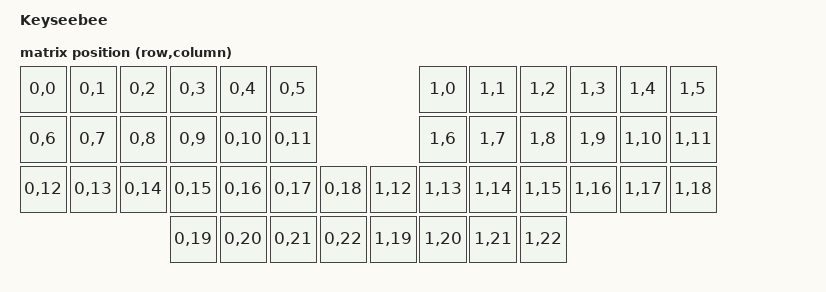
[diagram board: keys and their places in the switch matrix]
/*
 * Copyright (c) 2020 The ZMK Contributors
 *
 * SPDX-License-Identifier: MIT
 */

/dts-v1/;
#include <st/f0/stm32f072Xb.dtsi>
#include <st/f0/stm32f072c(8-b)tx-pinctrl.dtsi>
//#include <dt-bindings/led/led.h>

#include <dt-bindings/zmk/matrix_transform.h>

#include <physical_layouts.dtsi>

/ {
    model = "Keyseebee";
    compatible = "sefodopo,keyseebee", "st,stm32f072";

    chosen {
        zephyr,sram = &sram0;
        zephyr,flash = &flash0;
        zmk,kscan = &kscan;
        zmk,split-uart = &usart1;
    };

    matrix_transform: matrix_transform {
        compatible = "zmk,matrix-transform";

        compatible = "zmk,matrix-transform";
        columns = <7>;
        rows = <4>;
        map = <
            RC(0,0)  RC(0,1)  RC(0,2)  RC(0,3)  RC(0,4)  RC(0,5)                       RC(1,0)  RC(1,1)  RC(1,2)  RC(1,3)  RC(1,4)  RC(1,5)
            RC(0,6)  RC(0,7)  RC(0,8)  RC(0,9)  RC(0,10) RC(0,11)                      RC(1,6)  RC(1,7)  RC(1,8)  RC(1,9)  RC(1,10) RC(1,11)
            RC(0,12) RC(0,13) RC(0,14) RC(0,15) RC(0,16) RC(0,17) RC(0,18)    RC(1,12) RC(1,13) RC(1,14) RC(1,15) RC(1,16) RC(1,17) RC(1,18)
                                       RC(0,19) RC(0,20) RC(0,21) RC(0,22)    RC(1,19) RC(1,20) RC(1,21) RC(1,22)
        >;
    };

    physical_layout {
        compatible = "zmk,physical-layout";

        display-name = "Keyseebee";
        transform = <&matrix_transform>;
        //keys  //                     w   h    x    y     rot    rx    ry
        //    = <&key_physical_attrs 100 100    0    0       0     0     0>
        //    , <&key_physical_attrs 100 100  100    0       0     0     0>
        //    , <&key_physical_attrs 100 100  200    0       0     0     0>
        //    , <&key_physical_attrs 100 100    0  100       0     0     0>
        //    , <&key_physical_attrs 100 100  100  100       0     0     0>
        //    , <&key_physical_attrs 100 100  200  100       0     0     0>
        //    , <&key_physical_attrs 100 100    0  200       0     0     0>
        //    , <&key_physical_attrs 100 100  100  200       0     0     0>
        //    , <&key_physical_attrs 100 100  200  200       0     0     0>
        //    ;
    };

    //encoder: encoder {
    //    compatible = "alps,ec11";
    //    a-gpios = <&gpiof 1 (GPIO_ACTIVE_HIGH | GPIO_PULL_UP)>;
    //    b-gpios = <&gpiof 0 (GPIO_ACTIVE_HIGH | GPIO_PULL_UP)>;
    //    steps = <80>;
    //    status = "okay";
    //};

    //sensors: sensors {
    //    compatible = "zmk,keymap-sensors";
    //    status = "okay";
    //    sensors = <&encoder>;
    //    triggers-per-rotation = <20>;
    //};
};

&usart1 {
  status = "okay";
  pinctrl-0 = <&usart1_tx_pa9 &usart1_rx_pa10>;
  pinctrl-names = "default";
};

&clk_hsi {
    status = "okay";
};

&pll {
    status = "okay";
    prediv = <1>;
    mul = <6>;
    clocks = <&clk_hsi>;
};

&rcc {
    clocks = <&pll>;
    clock-frequency = <DT_FREQ_M(48)>;
    ahb-prescaler = <1>;
    apb1-prescaler = <1>;
};

zephyr_udc0: &usb {
    status = "okay";
    pinctrl-0 = <&usb_dm_pa11 &usb_dp_pa12>;
    pinctrl-names = "default";

    // Overridden to lower RAM usage.
    num-bidir-endpoints = <4>;
};

&rtc {
    status = "okay";
};

&flash0 {
    /*
     * For more information, see:
     * http://docs.zephyrproject.org/latest/guides/dts/index.html#flash-partitions
     */
    partitions {
        compatible = "fixed-partitions";
        #address-cells = <1>;
        #size-cells = <1>;

        /* Set 6Kb of storage at the end of the 128Kb of flash */
        storage_partition: partition@1e800 {
            reg = <0x0001e800 0x00001800>;
        };
    };
};
